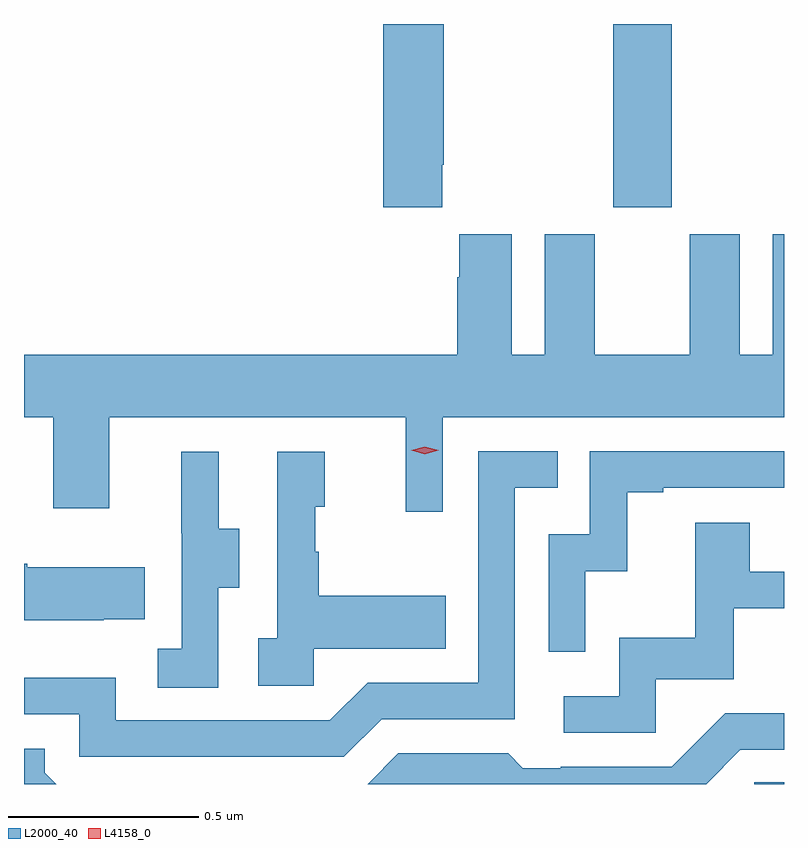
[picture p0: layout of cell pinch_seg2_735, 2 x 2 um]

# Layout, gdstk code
import gdstk
lib = gdstk.Library(unit=1e-6, precision=1e-09)
def R(c, l, rs):  # rectangles x0, y0, x1, y1
    for r in rs: c.add(gdstk.rectangle(r[:2], r[2:], *l))
def P(c, l, *ps):  # polygons
    for p in ps: c.add(gdstk.Polygon(p, *l))
L2000_40 = (2000, 40)
L4158_0 = (4158, 0)

pinch_seg2_735 = lib.new_cell('pinch_seg2_735')
R(pinch_seg2_735, L2000_40, [(1120.939,592.059,1121.017,592.064), (1120.567,593.577,1120.722,594.059)])
P(pinch_seg2_735, L2000_40, [(1120.117,593.689),(1120.122,593.689),(1120.122,594.059),(1119.962,594.059),(1119.962,593.577),(1120.117,593.577)],
  [(1120.119,593.024),(1121.017,593.024),(1121.017,593.506),(1120.988,593.506),(1120.988,593.188),(1120.9,593.188),(1120.9,593.506),(1120.769,593.506),(1120.769,593.188),(1120.519,593.188),(1120.519,593.506),(1120.388,593.506),(1120.388,593.188),(1120.3,593.188),(1120.3,593.506),(1120.163,593.506),(1120.163,593.393),(1120.157,593.393),(1120.157,593.188),(1119.017,593.188),(1119.017,593.024),(1119.094,593.024),(1119.094,592.785),(1119.241,592.785),(1119.241,593.024),(1120.022,593.024),(1120.022,592.776),(1120.119,592.776)],
  [(1119.958,592.23),(1120.308,592.23),(1120.308,592.839),(1120.421,592.839),(1120.421,592.935),(1120.212,592.935),(1120.212,592.326),(1119.921,592.326),(1119.822,592.227),(1119.258,592.227),(1119.258,592.339),(1119.017,592.339),(1119.017,592.242),(1119.162,592.242),(1119.162,592.131),(1119.859,592.131)],
  [(1120.494,592.619),(1120.604,592.619),(1120.604,592.827),(1120.699,592.827),(1120.699,592.839),(1121.017,592.839),(1121.017,592.935),(1120.506,592.935),(1120.506,592.716),(1120.398,592.716),(1120.398,592.407),(1120.494,592.407)],
  [(1119.78,592.415),(1120.127,592.415),(1120.127,592.555),(1119.793,592.555),(1119.793,592.67),(1119.783,592.67),(1119.783,592.788),(1119.808,592.788),(1119.808,592.933),(1119.684,592.933),(1119.684,592.442),(1119.633,592.442),(1119.633,592.317),(1119.78,592.317)],
  [(1119.528,592.576),(1119.583,592.576),(1119.583,592.731),(1119.529,592.731),(1119.529,592.933),(1119.431,592.933),(1119.431,592.719),(1119.432,592.719),(1119.432,592.415),(1119.369,592.415),(1119.369,592.312),(1119.528,592.312)],
  [(1120.68,592.335),(1120.885,592.335),(1120.885,592.521),(1121.017,592.521),(1121.017,592.617),(1120.927,592.617),(1120.927,592.747),(1120.783,592.747),(1120.783,592.444),(1120.584,592.444),(1120.584,592.29),(1120.437,592.29),(1120.437,592.194),(1120.68,592.194)],
  [(1119.227,592.493),(1119.335,592.493),(1119.335,592.63),(1119.025,592.63),(1119.025,592.638),(1119.017,592.638),(1119.017,592.49),(1119.227,592.49)],
  [(1120.902,592.149),(1121.017,592.149),(1121.017,592.245),(1120.863,592.245),(1120.722,592.104),(1120.429,592.104),(1120.429,592.101),(1120.33,592.101),(1120.291,592.14),(1120.002,592.14),(1119.921,592.059),(1120.812,592.059)],
  [(1119.072,592.089),(1119.072,592.152),(1119.017,592.152),(1119.017,592.059),(1119.102,592.059)])
P(pinch_seg2_735, L4158_0, [(1120.072,592.927),(1120.036,592.937),(1120.036,592.937),(1120.036,592.937),(1120.072,592.947),(1120.108,592.937),(1120.108,592.937),(1120.108,592.937)])

lib.write_gds('pinch_seg2_735.gds')
